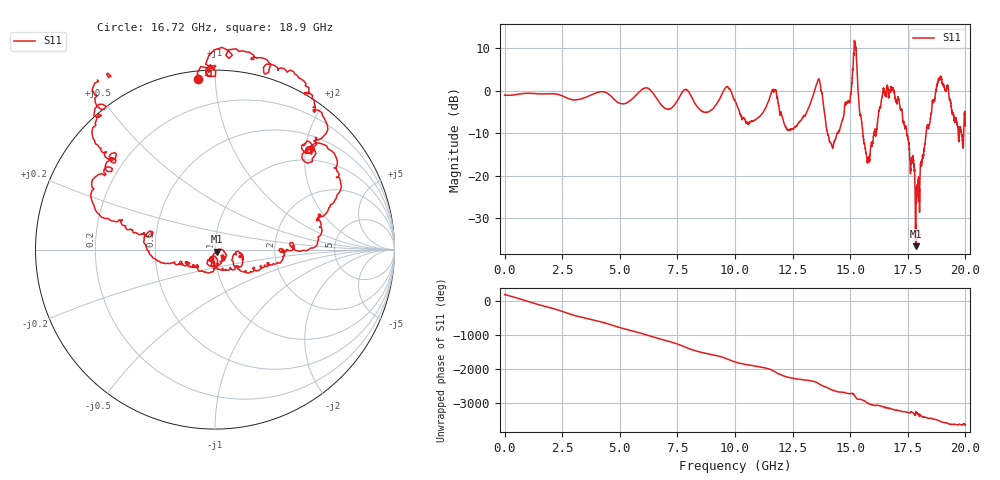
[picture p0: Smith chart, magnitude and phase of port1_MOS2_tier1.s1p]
! Created with skrf 1.8.0 (http://scikit-rf.org).
# GHz S RI R 50.0
!freq ReS11 ImS11
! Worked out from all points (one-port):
!   10001 points, 1 MHz to 20 GHz, reference 50 ohm
!   lowest |S11| = -36.5 dB at 17.85 GHz (marker M1), VSWR 1.03, Z = 51 - j1.08 ohm
!   |S11| at or under -10 dB: 14.01 GHz to 14.43 GHz (414 MHz wide, 2.91 % of centre); 15.55 GHz to 16.03 GHz (474.7 MHz wide, 3.01 % of centre); 17.46 GHz to 18.29 GHz (834 MHz wide, 4.67 % of centre) (the widest 3 of 8)
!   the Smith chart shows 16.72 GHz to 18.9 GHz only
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0.001  -0.893 0.00544
0.860957  0.9211 0.1478
1.358932  -0.0732 -0.9262
1.908905  -0.906 0.1774
2.500875  0.5725 0.6598
3.080846  0.1335 -0.7732
3.722814  -0.8853 0.0528
4.292785  0.1192 0.9641
5.00075  0.3125 -0.6427
6.110695  -0.0565 1.08
6.534673  0.865 0.0607
7.500625  -0.7677 0.0483
8.076596  0.8333 0.3118
9.39853  -0.8373 0.2472
10.0005  0.7538 0.1694
11.04045  -0.3107 -0.3833
11.70841  -0.1066 1.001
12.50038  -0.0841 -0.348
13.64032  -0.2161 1.362
14.0923  0.179 -0.1901
15.00025  -0.782 0.0965
15.18624  -1.318 3.59
15.31823  1.315 0.1546
16.36218  -0.782 0.2383
17.50013  0.2616 -0.1027
17.84611  0.0105 -0.0106
18.88006  0.0475 1.351
20  0.3199 -0.2196
